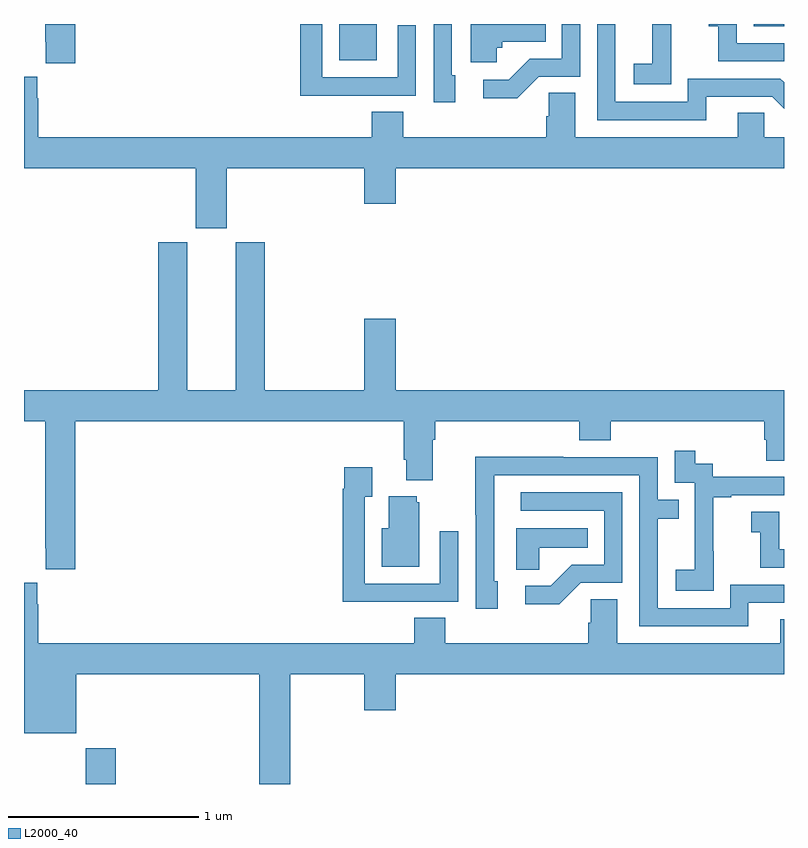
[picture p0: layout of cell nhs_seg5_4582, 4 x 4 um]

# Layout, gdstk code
import gdstk
lib = gdstk.Library(unit=1e-6, precision=1e-09)
def R(c, l, rs):  # rectangles x0, y0, x1, y1
    for r in rs: c.add(gdstk.rectangle(r[:2], r[2:], *l))
def P(c, l, *ps):  # polygons
    for p in ps: c.add(gdstk.Polygon(p, *l))
L2000_40 = (2000, 40)

nhs_seg5_4582 = lib.new_cell('nhs_seg5_4582')
R(nhs_seg5_4582, L2000_40, [(379.324,906.799,379.484,906.988), (380.66,910.607,380.857,910.799), (382.842,910.788,383,910.799)])
P(nhs_seg5_4582, L2000_40, [(380.747,910.422),(381.063,910.422),(381.063,910.792),(380.967,910.792),(380.967,910.518),(380.571,910.518),(380.571,910.799),(380.455,910.799),(380.455,910.421),(380.747,910.421)],
  [(381.271,910.53),(381.252,910.53),(381.252,910.799),(381.156,910.799),(381.156,910.386),(381.271,910.386)],
  [(379.271,910.799),(379.111,910.799),(379.111,910.705),(379.115,910.705),(379.115,910.593),(379.271,910.593)],
  [(382.591,910.416),(382.938,910.416),(383,910.354),(383,910.492),(382.98,910.512),(382.494,910.512),(382.494,910.389),(382.113,910.389),(382.113,910.799),(382.017,910.799),(382.017,910.293),(382.591,910.293)],
  [(381.708,910.521),(381.927,910.521),(381.927,910.799),(381.831,910.799),(381.831,910.617),(381.662,910.617),(381.551,910.506),(381.417,910.506),(381.417,910.409),(381.595,910.409)],
  [(381.489,910.674),(381.516,910.674),(381.516,910.706),(381.746,910.706),(381.746,910.799),(381.35,910.799),(381.35,910.598),(381.489,910.598)],
  [(383,910.698),(382.752,910.698),(382.752,910.799),(382.605,910.799),(382.605,910.787),(382.654,910.787),(382.654,910.602),(383,910.602)],
  [(382.407,910.687),(382.406,910.687),(382.406,910.799),(382.307,910.799),(382.307,910.591),(382.209,910.591),(382.209,910.481),(382.407,910.481)],
  [(380.068,910.04),(380.792,910.04),(380.792,909.852),(380.956,909.852),(380.956,910.04),(383,910.04),(383,910.204),(382.896,910.204),(382.896,910.331),(382.757,910.331),(382.757,910.204),(381.901,910.204),(381.901,910.436),(381.762,910.436),(381.762,910.313),(381.749,910.313),(381.749,910.204),(380.996,910.204),(380.996,910.337),(380.831,910.337),(380.831,910.204),(379.076,910.204),(379.076,910.409),(379.069,910.409),(379.069,910.522),(379,910.522),(379,910.04),(379.904,910.04),(379.904,909.723),(380.068,909.723)],
  [(379.271,908.708),(380.999,908.708),(380.999,908.506),(381.011,908.506),(381.011,908.399),(381.151,908.399),(381.151,908.612),(381.164,908.612),(381.164,908.708),(381.923,908.708),(381.923,908.609),(382.088,908.609),(382.088,908.708),(382.895,908.708),(382.895,908.61),(382.907,908.61),(382.907,908.5),(383,908.5),(383,908.872),(380.956,908.872),(380.956,909.247),(380.792,909.247),(380.792,908.872),(380.267,908.872),(380.267,909.651),(380.114,909.651),(380.114,908.872),(379.858,908.872),(379.858,909.651),(379.706,909.651),(379.706,908.872),(379,908.872),(379,908.708),(379.111,908.708),(379.111,908.041),(379.115,908.041),(379.115,907.929),(379.271,907.929)],
  [(382.629,908.023),(382.628,908.023),(382.628,908.307),(382.723,908.307),(382.723,908.319),(383,908.319),(383,908.415),(382.626,908.415),(382.626,908.484),(382.534,908.484),(382.534,908.554),(382.425,908.554),(382.425,908.385),(382.53,908.385),(382.53,908.156),(382.529,908.156),(382.529,907.927),(382.431,907.927),(382.431,907.817),(382.629,907.817)],
  [(382.813,907.752),(383,907.752),(383,907.848),(382.716,907.848),(382.716,907.725),(382.335,907.725),(382.335,908.194),(382.445,908.194),(382.445,908.295),(382.335,908.295),(382.335,908.52),(381.839,908.52),(381.839,908.522),(381.376,908.522),(381.376,908.215),(381.378,908.215),(381.378,907.722),(381.493,907.722),(381.493,907.866),(381.474,907.866),(381.474,908.424),(382.239,908.424),(382.239,907.629),(382.813,907.629)],
  [(380.969,907.758),(381.285,907.758),(381.285,908.128),(381.189,908.128),(381.189,907.854),(380.793,907.854),(380.793,908.311),(380.833,908.311),(380.833,908.467),(380.685,908.467),(380.685,908.354),(380.677,908.354),(380.677,907.757),(380.969,907.757)],
  [(381.93,907.857),(382.149,907.857),(382.149,908.334),(381.615,908.334),(381.615,908.238),(382.053,908.238),(382.053,907.953),(381.884,907.953),(381.773,907.842),(381.639,907.842),(381.639,907.745),(381.817,907.745)],
  [(381.079,908.283),(381.068,908.283),(381.068,908.314),(380.921,908.314),(380.921,908.146),(380.882,908.146),(380.882,907.943),(381.079,907.943)],
  [(383,908.034),(382.974,908.034),(382.974,908.233),(382.827,908.233),(382.827,908.123),(382.876,908.123),(382.876,907.938),(383,907.938)],
  [(381.711,908.042),(381.968,908.042),(381.968,908.146),(381.59,908.146),(381.59,907.927),(381.711,907.927)],
  [(380.401,907.376),(380.792,907.376),(380.792,907.188),(380.956,907.188),(380.956,907.376),(383,907.376),(383,907.667),(382.979,907.667),(382.979,907.54),(382.123,907.54),(382.123,907.772),(381.984,907.772),(381.984,907.649),(381.971,907.649),(381.971,907.54),(381.218,907.54),(381.218,907.673),(381.053,907.673),(381.053,907.54),(379.076,907.54),(379.076,907.745),(379.069,907.745),(379.069,907.858),(379,907.858),(379,907.067),(379.276,907.067),(379.276,907.376),(380.237,907.376),(380.237,906.799),(380.401,906.799)])

lib.write_gds('nhs_seg5_4582.gds')
